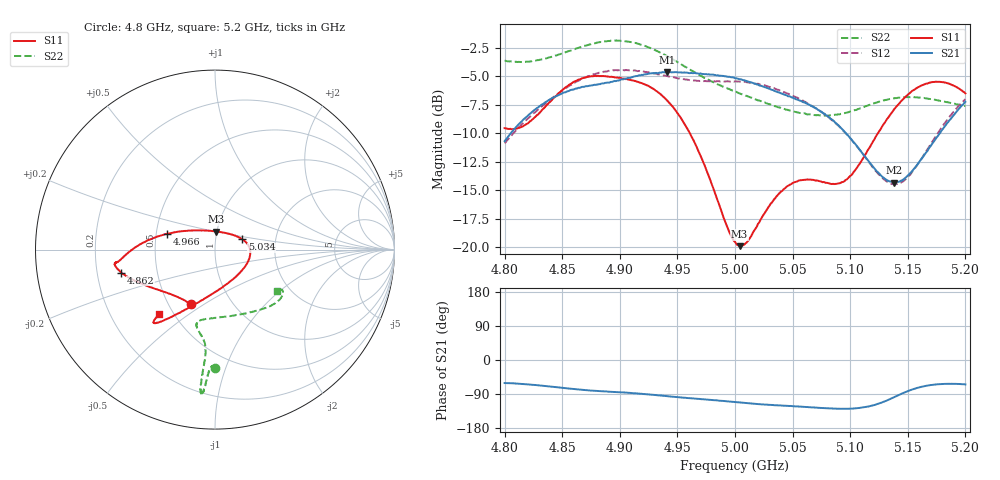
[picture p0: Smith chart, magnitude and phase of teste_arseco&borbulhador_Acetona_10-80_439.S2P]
! Network Analyzer HP8722D
! Hewlett-Packard
! Data name: Linha & Wilkinson
! Saver's name: Rodrigo Anjos
! Comments: Teste da utilização de aquisição
! continua pelo VNA HP8722D
! Time and date: 17/4/2025 18:01
!  Frequency  S11  S21  S12  S22
# HZ  S  MA R 50
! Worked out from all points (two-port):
!   401 points, 4.8 GHz to 5.2 GHz, reference 50 ohm
!   highest |S21| = -4.62 dB at 4.941 GHz (marker M1); lowest = -14.3 dB at 5.138 GHz (marker M2)
!   |S21| within 3 dB of the highest: 4.83 GHz to 5.067 GHz (236.1 MHz wide, 4.77 % of centre); 5.196417 GHz to end of sweep
!   lowest |S11| = -19.9 dB at 5.004 GHz (marker M3), VSWR 1.22, Z = 49.7 + j10.1 ohm
!   |S11| at or under -10 dB: 4.961 GHz to 5.124 GHz (163.3 MHz wide, 3.24 % of centre)
!   |S22| runs from -8.5 to -1.9 dB; largest |S21 - S12| = 0.88
!   S11 on the Smith chart (normalised r, x): 4.8 GHz: 0.65, -0.44; 4.862 GHz: 0.31, -0.11; 4.966 GHz: 0.57, +0.11; 5.034 GHz: 1.35, +0.16; 5.2 GHz: 0.42, -0.39
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4.8e9  0.3329 -113.4  0.2919 -60.8  0.2858 -175.0  0.6585 -90.0
4.819e9  0.3474 -133.6  0.3731 -64.2  0.3621 -173.6  0.652 -91.6
4.862e9  0.5368 -166.2  0.4976 -77.1  0.5323 -176.8  0.7443 -93.9
4.867e9  0.5501 -168.1  0.5051 -78.7  0.5458 -177.9  0.7576 -94.0
4.9e9  0.5543 -172.7  0.5411 -85.1  0.5986 175.6  0.8052 -95.5
4.934e9  0.4751 -178.8  0.5826 -93.5  0.5734 171.9  0.718 -95.9
4.941e9  0.4409 178.1  0.5872 -95.4  0.5641 171.8  0.6911 -95.8
4.966e9  0.2804 161.6  0.5798 -102.0  0.5384 173.8  0.5811 -95.2
5e9  0.1054 99.3  0.5516 -111.0  0.5346 176.2  0.4806 -99.4
5.004e9  0.101 85.9  0.5456 -112.0  0.5328 176.1  0.473 -100.1
5.012e9  0.1079 60.4  0.5318 -114.2  0.5282 175.7  0.4571 -102.0
5.034e9  0.1623 21.1  0.4859 -119.3  0.4984 174.7  0.4163 -103.7
5.049e9  0.1893 5.7  0.4545 -121.6  0.4649 174.2  0.3965 -100.0
5.067e9  0.1976 -13.5  0.4152 -125.1  0.4159 173.6  0.3806 -90.8
5.086e9  0.1891 -43.8  0.3573 -128.5  0.3532 173.7  0.3807 -76.3
5.097e9  0.1981 -66.5  0.3128 -128.7  0.3132 174.6  0.3898 -67.2
5.134e9  0.3765 -116.8  0.1944 -103.8  0.1909 -156.8  0.4464 -43.0
5.138e9  0.4021 -119.0  0.192 -98.1  0.189 -150.4  0.4497 -41.2
5.151e9  0.4711 -124.8  0.2083 -81.1  0.2058 -130.5  0.4558 -36.4
5.17e9  0.5287 -129.2  0.2784 -66.0  0.2839 -112.3  0.4467 -32.0
5.184e9  0.5249 -130.5  0.3498 -63.0  0.3606 -107.3  0.4332 -31.1
5.2e9  0.4731 -130.9  0.4344 -64.4  0.4464 -106.5  0.416 -33.4
